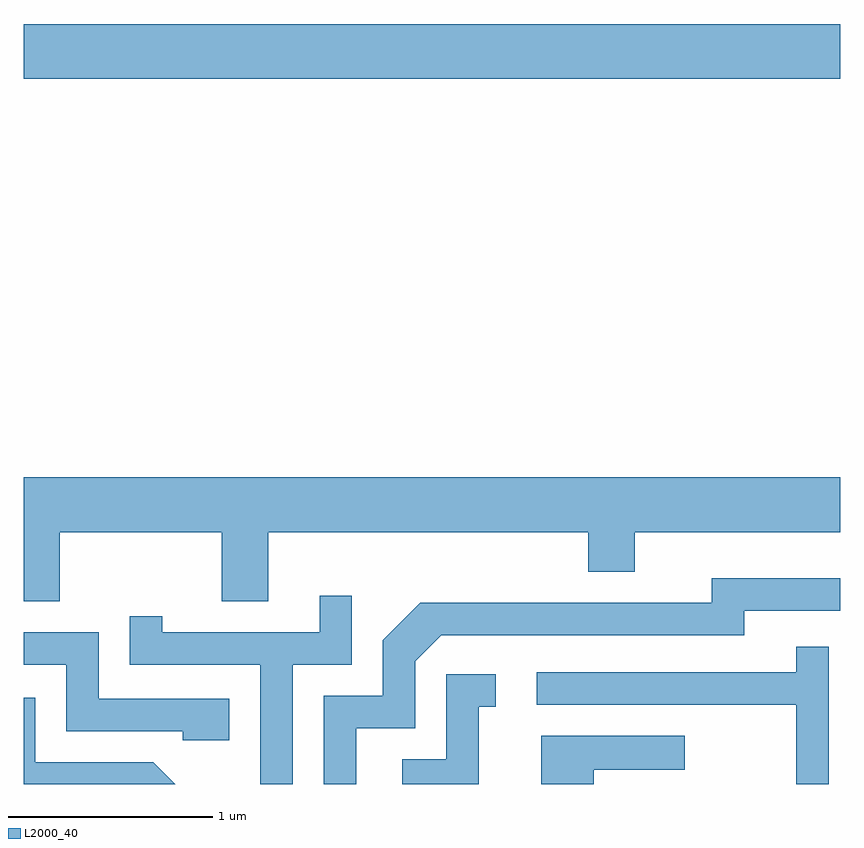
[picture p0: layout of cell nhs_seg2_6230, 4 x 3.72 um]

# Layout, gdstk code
import gdstk
lib = gdstk.Library(unit=1e-6, precision=1e-09)
def R(c, l, rs):  # rectangles x0, y0, x1, y1
    for r in rs: c.add(gdstk.rectangle(r[:2], r[2:], *l))
def P(c, l, *ps):  # polygons
    for p in ps: c.add(gdstk.Polygon(p, *l))
L2000_40 = (2000, 40)

nhs_seg2_6230 = lib.new_cell('nhs_seg2_6230')
R(nhs_seg2_6230, L2000_40, [(369.611,997.256,373.611,997.524)])
P(nhs_seg2_6230, L2000_40, [(369.789,995.036),(370.581,995.036),(370.581,994.696),(370.809,994.696),(370.809,995.036),(372.376,995.036),(372.376,994.841),(372.604,994.841),(372.604,995.036),(373.611,995.036),(373.611,995.304),(369.611,995.304),(369.611,994.696),(369.789,994.696)],
  [(371.239,994.076),(371.529,994.076),(371.529,994.404),(371.657,994.531),(373.139,994.531),(373.139,994.651),(373.611,994.651),(373.611,994.809),(372.981,994.809),(372.981,994.689),(371.554,994.689),(371.371,994.507),(371.371,994.234),(371.081,994.234),(371.081,993.802),(371.239,993.802)],
  [(370.929,994.386),(371.219,994.386),(371.219,994.723),(371.061,994.723),(371.061,994.544),(370.289,994.544),(370.289,994.623),(370.131,994.623),(370.131,994.386),(370.771,994.386),(370.771,993.802),(370.929,993.802)],
  [(370.619,994.219),(369.979,994.219),(369.979,994.544),(369.611,994.544),(369.611,994.386),(369.821,994.386),(369.821,994.061),(370.391,994.061),(370.391,994.016),(370.619,994.016)],
  [(373.554,994.473),(373.396,994.473),(373.396,994.349),(372.123,994.349),(372.123,994.191),(373.396,994.191),(373.396,993.802),(373.554,993.802)],
  [(371.839,994.181),(371.923,994.181),(371.923,994.339),(371.681,994.339),(371.681,993.924),(371.466,993.924),(371.466,993.802),(371.839,993.802)],
  [(370.247,993.909),(369.669,993.909),(369.669,994.224),(369.611,994.224),(369.611,993.802),(370.354,993.802)],
  [(372.404,993.871),(372.848,993.871),(372.848,994.039),(372.146,994.039),(372.146,993.802),(372.404,993.802)])

lib.write_gds('nhs_seg2_6230.gds')
